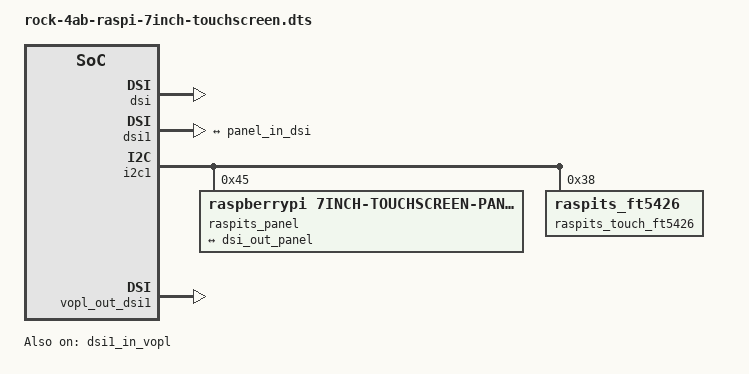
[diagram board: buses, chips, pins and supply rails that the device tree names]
/dts-v1/;
/plugin/;

/ {
	metadata {
		title ="Enable Raspberry Pi 7-inch Touchscreen on ROCK 4 A/B/SE";
		compatible = "rockchip,rk3399";
		category = "display";
		description = "Enable Raspberry Pi 7-inch Touchscreen on ROCK 4 A/B/SE";
	};

	fragment@0 {
		target = <&dsi>;

		__overlay__ {
			dsi1-only;
			status = "okay";
		};
	};

	fragment@1 {
		target = <&dsi1>;

		__overlay__ {
			rockchip,dsi-dsi0 = <&dsi>;
			status = "okay";
			#address-cells = <1>;
			#size-cells = <0>;
			rockchip,lane-rate = <696>;

			ports {
				#address-cells = <1>;
				#size-cells = <0>;

				port@1 {
					reg = <1>;
					dsi_out_panel: endpoint {
						remote-endpoint = <&panel_in_dsi>;
					};
				};
			};
		};
	};

	fragment@2 {
		target = <&i2c1>;

		__overlay__ {
			status = "okay";
			#address-cells = <1>;
			#size-cells = <0>;

			raspits_panel: raspits-panel@45 {
				compatible = "raspberrypi,7inch-touchscreen-panel";
				reg = <0x45>;

				port {
					panel_in_dsi: endpoint {
						remote-endpoint = <&dsi_out_panel>;
					};
				};
			};

			raspits_touch_ft5426: raspits-touch-ft5426@38 {
				compatible = "raspits_ft5426";
				reg = <0x38>;
			};
		};
	};

	fragment@3 {
		target = <&vopl_out_dsi1>;

		__overlay__ {
			status = "okay";
		};
	};

	fragment@4 {
		target = <&dsi1_in_vopb>;

		__overlay__ {
			status = "disabled";
		};
	};

	fragment@5 {
		target = <&dsi1_in_vopl>;

		__overlay__ {
			status = "okay";
		};
	};

	fragment@6 {
		target = <&route_dsi>;

		__overlay__ {
			status = "disabled";
			connect = <&vopl_out_dsi>;
		};
	};
};
